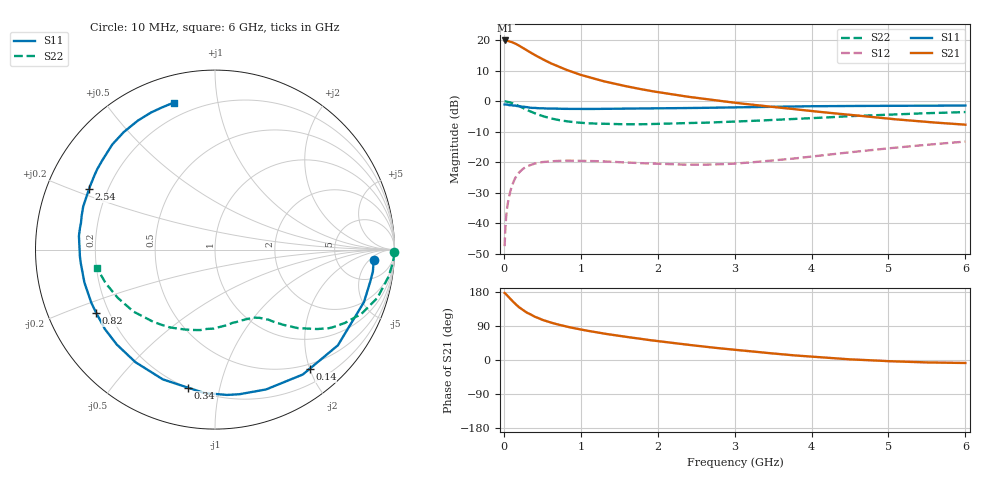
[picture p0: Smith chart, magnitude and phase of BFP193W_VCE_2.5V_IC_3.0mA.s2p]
! Infineon Technologies  Discrete & RF Semiconductors
! BFP193W
! VCE = 2.5 V,  IC =  3.0 mA
! Common Emitter S-Parameters:  Jan 2016
# GHz  S  MA  R  50
!  f  S11  S21  S12  S22
! GHz  MAG  ANG  MAG  ANG  MAG  ANG  MAG  ANG
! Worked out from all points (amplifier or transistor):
!   210 points, 10 MHz to 6 GHz, reference 50 ohm
!   highest |S21| = 19.9 dB at 20 MHz (marker M1)
!   |S21| within 3 dB of that: start of sweep to 284 MHz
!   unconditionally stable (mu >= 1): 1.901 GHz to 4.781 GHz
!   at 185 MHz: K = 0.11, MSG = 21.1 dB, |S12| = -23.8 dB
!   at 1.52 GHz: K = 0.80, MSG = 12.6 dB, |S12| = -20.0 dB
!   at 6 GHz: K = 0.95, MSG = 2.8 dB, |S12| = -13.2 dB
!   S11 on the Smith chart (normalised r, x): 10 MHz: 13, -7; 140 MHz: 0.42, -2.00; 340 MHz: 0.20, -0.80; 820 MHz: 0.15, -0.24; 2.54 GHz: 0.13, +0.22; 6 GHz: 0.13, +0.75
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0.01  0.8861 -3.9  9.868 176.9  0.0042 89.4  1 -0.9
0.02  0.8881 -7.9  9.942 175.4  0.0083 84.9  0.9949 -3.7
0.05  0.88 -19.4  9.81 168.7  0.0207 79.3  0.9797 -8.7
0.1  0.8679 -37.9  9.396 157.8  0.0393 69.9  0.9442 -16.5
0.14  0.8481 -51.5  8.927 149.8  0.0523 62.4  0.9003 -22.2
0.15  0.8507 -54.9  8.839 147.7  0.0556 61.1  0.8908 -23.7
0.2  0.8295 -69.9  8.145 138.9  0.0682 53.4  0.8317 -29.4
0.24  0.8172 -80.4  7.62 133.1  0.0761 48.1  0.787 -33.3
0.3  0.8014 -94.2  6.834 124.9  0.0857 41.9  0.7204 -37.9
0.34  0.7836 -101.1  6.38 121.1  0.0892 38.3  0.6855 -40.0
0.4  0.7793 -111.9  5.76 114.4  0.095 33.5  0.635 -43.5
0.5  0.768 -125.3  4.918 106.0  0.1006 27.7  0.5736 -47.3
0.6  0.761 -136.0  4.252 99.3  0.1035 23.2  0.5273 -50.3
0.82  0.7499 -152.0  3.257 88.0  0.1061 17.2  0.469 -55.0
1.02  0.748 -162.4  2.665 79.8  0.1052 13.7  0.4418 -59.2
1.46  0.7538 -178.8  1.911 65.0  0.101 10.9  0.4217 -68.7
2.02  0.7662 165.9  1.401 49.3  0.0941 13.6  0.4265 -81.5
2.54  0.7783 154.4  1.12 36.9  0.0912 20.7  0.4426 -94.3
3.1  0.7977 143.4  0.916 25.0  0.0969 30.1  0.4697 -108.0
4.1  0.8298 126.4  0.671 7.5  0.1282 40.8  0.5359 -133.3
5.1  0.8431 114.0  0.505 -3.7  0.1738 41.1  0.6105 -155.7
6  0.8507 105.7  0.413 -7.9  0.2181 37.5  0.6654 -171.1
